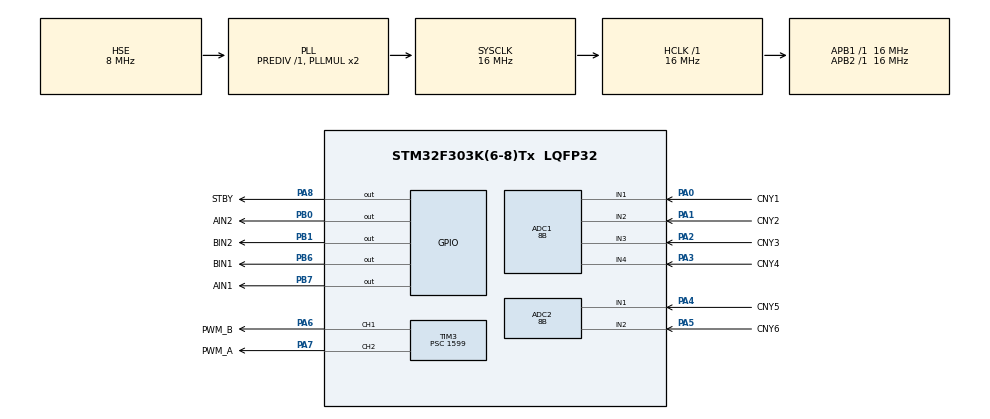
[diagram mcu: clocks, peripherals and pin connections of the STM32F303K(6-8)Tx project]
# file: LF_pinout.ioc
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ADC1.Channel-0\#ChannelRegularConversion=ADC_CHANNEL_1
ADC1.Channel-1\#ChannelRegularConversion=ADC_CHANNEL_2
ADC1.Channel-2\#ChannelRegularConversion=ADC_CHANNEL_3
ADC1.Channel-5\#ChannelRegularConversion=ADC_CHANNEL_4
ADC1.ClockPrescaler=ADC_CLOCK_SYNC_PCLK_DIV1
ADC1.ContinuousConvMode=DISABLE
ADC1.DMAContinuousRequests=DISABLE
ADC1.ExternalTrigConv=ADC_SOFTWARE_START
ADC1.NbrOfConversion=4
ADC1.NbrOfConversionFlag=1
ADC1.Offset-0\#ChannelRegularConversion=0
ADC1.Offset-1\#ChannelRegularConversion=0
ADC1.Offset-2\#ChannelRegularConversion=0
ADC1.Offset-5\#ChannelRegularConversion=0
ADC1.OffsetNumber-0\#ChannelRegularConversion=ADC_OFFSET_NONE
ADC1.OffsetNumber-1\#ChannelRegularConversion=ADC_OFFSET_NONE
ADC1.OffsetNumber-2\#ChannelRegularConversion=ADC_OFFSET_NONE
ADC1.OffsetNumber-5\#ChannelRegularConversion=ADC_OFFSET_NONE
ADC1.Overrun=ADC_OVR_DATA_OVERWRITTEN
ADC1.Rank-0\#ChannelRegularConversion=1
ADC1.Rank-1\#ChannelRegularConversion=2
ADC1.Rank-2\#ChannelRegularConversion=3
ADC1.Rank-5\#ChannelRegularConversion=4
ADC1.Resolution=ADC_RESOLUTION_8B
ADC1.SamplingTime-0\#ChannelRegularConversion=ADC_SAMPLETIME_4CYCLES_5
ADC1.SamplingTime-1\#ChannelRegularConversion=ADC_SAMPLETIME_4CYCLES_5
ADC1.SamplingTime-2\#ChannelRegularConversion=ADC_SAMPLETIME_4CYCLES_5
ADC1.SamplingTime-5\#ChannelRegularConversion=ADC_SAMPLETIME_4CYCLES_5
ADC1.SamplingTimeOPAMP-5\#ChannelRegularConversion=ADC_SAMPLETIME_7CYCLES_5
ADC1.SubFamily=STM32F303x8
ADC1.master=1
ADC2.Channel-0\#ChannelRegularConversion=ADC_CHANNEL_1
ADC2.Channel-1\#ChannelRegularConversion=ADC_CHANNEL_2
ADC2.ClockPrescaler=ADC_CLOCK_SYNC_PCLK_DIV1
ADC2.ContinuousConvMode=DISABLE
ADC2.DMAContinuousRequests=DISABLE
ADC2.NbrOfConversion=2
ADC2.NbrOfConversionFlag=1
ADC2.Offset-0\#ChannelRegularConversion=0
ADC2.Offset-1\#ChannelRegularConversion=0
ADC2.OffsetNumber-0\#ChannelRegularConversion=ADC_OFFSET_NONE
ADC2.OffsetNumber-1\#ChannelRegularConversion=ADC_OFFSET_NONE
ADC2.Rank-0\#ChannelRegularConversion=1
ADC2.Rank-1\#ChannelRegularConversion=2
ADC2.Resolution=ADC_RESOLUTION_8B
ADC2.SamplingTime-0\#ChannelRegularConversion=ADC_SAMPLETIME_4CYCLES_5
ADC2.SamplingTime-1\#ChannelRegularConversion=ADC_SAMPLETIME_4CYCLES_5
ADC2.SamplingTimeOPAMP-1\#ChannelRegularConversion=ADC_SAMPLETIME_19CYCLES_5
ADC2.SubFamily=STM32F303x8
Dma.ADC1.0.Direction=DMA_PERIPH_TO_MEMORY
Dma.ADC1.0.Instance=DMA1_Channel1
Dma.ADC1.0.MemDataAlignment=DMA_MDATAALIGN_BYTE
Dma.ADC1.0.MemInc=DMA_MINC_ENABLE
Dma.ADC1.0.Mode=DMA_CIRCULAR
Dma.ADC1.0.PeriphDataAlignment=DMA_PDATAALIGN_BYTE
Dma.ADC1.0.PeriphInc=DMA_PINC_DISABLE
Dma.ADC1.0.Priority=DMA_PRIORITY_LOW
Dma.ADC2.1.Direction=DMA_PERIPH_TO_MEMORY
Dma.ADC2.1.Instance=DMA1_Channel2
Dma.ADC2.1.MemDataAlignment=DMA_MDATAALIGN_BYTE
Dma.ADC2.1.MemInc=DMA_MINC_ENABLE
Dma.ADC2.1.Mode=DMA_CIRCULAR
Dma.ADC2.1.PeriphDataAlignment=DMA_PDATAALIGN_BYTE
Dma.ADC2.1.PeriphInc=DMA_PINC_DISABLE
Dma.ADC2.1.Priority=DMA_PRIORITY_LOW
Dma.Request0=ADC1
Dma.Request1=ADC2
Mcu.Family=STM32F3
Mcu.Name=STM32F303K(6-8)Tx
Mcu.Package=LQFP32
NVIC.ADC1_2_IRQn=true\:0\:0\:false\:false\:true\:true\:true
NVIC.DMA1_Channel1_IRQn=true\:0\:0\:false\:false\:true\:false\:true
NVIC.DMA1_Channel2_IRQn=true\:0\:0\:false\:false\:true\:false\:true
NVIC.PriorityGroup=NVIC_PRIORITYGROUP_4
NVIC.TIM3_IRQn=true\:0\:0\:false\:false\:true\:true\:true
PA0.GPIO_Label=CNY1
PA0.Mode=IN1-Single-Ended
PA0.Signal=ADC1_IN1
PA1.GPIO_Label=CNY2
PA1.Mode=IN2-Single-Ended
PA1.Signal=ADC1_IN2
PA2.GPIO_Label=CNY3
PA2.Mode=IN3-Single-Ended
PA2.Signal=ADC1_IN3
PA3.GPIO_Label=CNY4
PA3.Mode=IN4-Single-Ended
PA3.Signal=ADC1_IN4
PA4.GPIO_Label=CNY5
PA4.Mode=IN1-Single-Ended
PA4.Signal=ADC2_IN1
PA5.GPIO_Label=CNY6
PA5.Mode=IN2-Single-Ended
PA5.Signal=ADC2_IN2
PA6.GPIO_Label=PWM_B
PA6.Signal=S_TIM3_CH1
PA7.GPIO_Label=PWM_A
PA7.Signal=S_TIM3_CH2
PA8.GPIO_Label=STBY
PA8.Signal=GPIO_Output
PB0.GPIO_Label=AIN2
PB0.Signal=GPIO_Output
PB1.GPIO_Label=BIN2
PB1.Signal=GPIO_Output
PB6.GPIO_Label=BIN1
PB6.Signal=GPIO_Output
PB7.GPIO_Label=AIN1
PB7.Signal=GPIO_Output
PF0\ /\ OSC_IN.Mode=HSE-External-Oscillator
PF0\ /\ OSC_IN.Signal=RCC_OSC_IN
PF1\ /\ OSC_OUT.Mode=HSE-External-Oscillator
PF1\ /\ OSC_OUT.Signal=RCC_OSC_OUT
ProjectManager.HeapSize=0x200
ProjectManager.StackSize=0x400
ProjectManager.TargetToolchain=STM32CubeIDE
RCC.AHBFreq_Value=16000000
RCC.APB1Freq_Value=16000000
RCC.APB1TimFreq_Value=16000000
RCC.APB2Freq_Value=16000000
RCC.APB2TimFreq_Value=16000000
RCC.CortexFreq_Value=16000000
RCC.HCLKFreq_Value=16000000
RCC.HSE_VALUE=8000000
RCC.HSI_VALUE=8000000
RCC.PLLSourceVirtual=RCC_PLLSOURCE_HSE
RCC.SYSCLKFreq_VALUE=16000000
RCC.SYSCLKSourceVirtual=RCC_SYSCLKSOURCE_PLLCLK
SH.S_TIM3_CH1.0=TIM3_CH1,PWM Generation1 CH1
SH.S_TIM3_CH2.0=TIM3_CH2,PWM Generation2 CH2
TIM3.Channel-PWM\ Generation1\ CH1=TIM_CHANNEL_1
TIM3.Channel-PWM\ Generation2\ CH2=TIM_CHANNEL_2
TIM3.OC1Preload_PWM=ENABLE
TIM3.OC2Preload_PWM=ENABLE
TIM3.Period=99
TIM3.Prescaler=1599
TIM3.TIM_MasterOutputTrigger=TIM_TRGO_RESET
VP_TIM3_VS_ClockSourceINT.Mode=Internal
board=custom

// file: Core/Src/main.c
/* USER CODE BEGIN Header */
/**
  ******************************************************************************
  * @file           : main.c
  * @brief          : Main program body
  ******************************************************************************
  * @attention
  *
  * <h2><center>&copy; Copyright (c) 2021 STMicroelectronics.
  * All rights reserved.</center></h2>
  *
  * This software component is licensed by ST under BSD 3-Clause license,
  * the "License"; You may not use this file except in compliance with the
  * License. You may obtain a copy of the License at:
  *                        opensource.org/licenses/BSD-3-Clause
  *
  ******************************************************************************
  */
/* USER CODE END Header */
#include "main.h"

/* USER CODE BEGIN PM */
volatile uint8_t CzujADC1[4];
volatile uint8_t CzujADC2[2];
/* USER CODE END PM */

ADC_HandleTypeDef hadc1;
ADC_HandleTypeDef hadc2;
DMA_HandleTypeDef hdma_adc1;
DMA_HandleTypeDef hdma_adc2;

TIM_HandleTypeDef htim3;

void SystemClock_Config(void);
static void MX_GPIO_Init(void);
static void MX_DMA_Init(void);
static void MX_ADC1_Init(void);
static void MX_ADC2_Init(void);
static void MX_TIM3_Init(void);

/* USER CODE BEGIN 0 */

/*void HAL_TIM_PeriodElapsedCallback(TIM_HandleTypeDef *htim) {
	if (htim == &htim3) {
		  __HAL_TIM_SET_COMPARE(&htim3, TIM_CHANNEL_1, 25); //25
		  __HAL_TIM_SET_COMPARE(&htim3, TIM_CHANNEL_2, 34); //34
	}
}*/

/* USER CODE END 0 */

int main(void)
{

  /* MCU Configuration--------------------------------------------------------*/

  /* Reset of all peripherals, Initializes the Flash interface and the Systick. */
  HAL_Init();

  /* Configure the system clock */
  SystemClock_Config();

  /* USER CODE BEGIN SysInit */
  int differential=0;
  int PD_reg=0;
  int base = 30;
  int diff = 20;

  int Motor_Left = base + diff;
  int Motor_Right = base;

  int weight[] = {0, 14, 7, -7, -14, 0};
  int SensorSettings[6];

  int Kp = 2;
  int Kd = 1;
  int err = 0;
  int prev_err = 0;
  int detections = 0;

  int prog = 180;

  uint8_t ADC_data[6];
  /* USER CODE END SysInit */

  /* Initialize all configured peripherals */
  MX_GPIO_Init();
  MX_DMA_Init();
  MX_ADC1_Init();
  MX_ADC2_Init();
  MX_TIM3_Init();
  /* USER CODE BEGIN 2 */

  HAL_ADC_Start_DMA(&hadc1, CzujADC1, 4);
  HAL_ADC_Start_DMA(&hadc2, CzujADC2, 2);

  HAL_TIM_PWM_Start(&htim3, TIM_CHANNEL_1);
  HAL_TIM_PWM_Start(&htim3, TIM_CHANNEL_2);

  HAL_GPIO_WritePin(STBY_GPIO_Port, STBY_Pin, GPIO_PIN_SET);

  //lewy silnik - jazda na przód
  HAL_GPIO_WritePin(AIN1_GPIO_Port, AIN1_Pin, GPIO_PIN_SET);
  HAL_GPIO_WritePin(AIN2_GPIO_Port, AIN2_Pin, GPIO_PIN_RESET);
  //prawy silnik - jazda na przód
  HAL_GPIO_WritePin(BIN1_GPIO_Port, BIN1_Pin, GPIO_PIN_SET);
  HAL_GPIO_WritePin(BIN2_GPIO_Port, BIN2_Pin, GPIO_PIN_RESET);
  /* USER CODE END 2 */

  /* Infinite loop */
  /* USER CODE BEGIN WHILE */
  while (1)
  {

	/*  for(int i = 0; i<4; i++)
	  {
		  ADC_data[i] = CzujADC1[i];
	  }

	  for(int i = 4; i<6; i++)
	  {
	  	  ADC_data[i] = CzujADC2[i];
	  }

	  for(int i = 0; i<6; i++)
	  {
		  if(ADC_data[i] > prog)
		  {
			  SensorSettings[i] = 1;
		  }
		  else
		  {
			  SensorSettings[i] = 0;
		  }

	  }

	  for(int j = 0; j<6; j++)
	  {
		  err += SensorSettings[j]*weight[j];
		  detections += SensorSettings[j];
	  }

	  if(detections != 0)
	  {
		  err /= detections;
		  prev_err = err;
	  }
	  else
	  {
		  if(prev_err < -8)
		  {
			  err = -13;
		  }
		  else if(prev_err > 8)
		  {
		  	  err = 13;
		  }
		  else err = 0;
	  }

	  differential = err - prev_err;
	  prev_err = err;
	  PD_reg = Kp*err + Kd*differential;

	  //Lewy silnik

	   __HAL_TIM_SET_COMPARE(&htim3, TIM_CHANNEL_2, Motor_Left+PD_reg);
	  //Prawy silnik

	  __HAL_TIM_SET_COMPARE(&htim3, TIM_CHANNEL_1, Motor_Right-PD_reg);
	  err = 0;
	  detections = 0;*/
	  if(CzujADC1[0] > prog)
	  {
		  //lewy silnik - jazda na przód
		  HAL_GPIO_WritePin(AIN1_GPIO_Port, AIN1_Pin, GPIO_PIN_SET);
		  HAL_GPIO_WritePin(AIN2_GPIO_Port, AIN2_Pin, GPIO_PIN_RESET);
		  //prawy silnik - jazda na przód
		  HAL_GPIO_WritePin(BIN1_GPIO_Port, BIN1_Pin, GPIO_PIN_RESET);
		  HAL_GPIO_WritePin(BIN2_GPIO_Port, BIN2_Pin, GPIO_PIN_SET);

		  err = 30;
	  }
	  else if(CzujADC1[1] > prog)
	  {
		  //lewy silnik - jazda na przód
		  HAL_GPIO_WritePin(AIN1_GPIO_Port, AIN1_Pin, GPIO_PIN_SET);
		  HAL_GPIO_WritePin(AIN2_GPIO_Port, AIN2_Pin, GPIO_PIN_RESET);
		  //prawy silnik - jazda na przód
		  HAL_GPIO_WritePin(BIN1_GPIO_Port, BIN1_Pin, GPIO_PIN_RESET);
		  HAL_GPIO_WritePin(BIN2_GPIO_Port, BIN2_Pin, GPIO_PIN_SET);
		  err = 15;
	  }
	  else if(CzujADC1[2] > prog)
	  {
		  //lewy silnik - jazda na przód
		  		  HAL_GPIO_WritePin(AIN1_GPIO_Port, AIN1_Pin, GPIO_PIN_SET);
		  		  HAL_GPIO_WritePin(AIN2_GPIO_Port, AIN2_Pin, GPIO_PIN_RESET);
		  		  //prawy silnik - jazda na przód
				  HAL_GPIO_WritePin(BIN1_GPIO_Port, BIN1_Pin, GPIO_PIN_RESET);
				  HAL_GPIO_WritePin(BIN2_GPIO_Port, BIN2_Pin, GPIO_PIN_SET);
				  err = 5;
	  }
	  else if(CzujADC1[3] > prog)
	  {
		  HAL_GPIO_WritePin(AIN1_GPIO_Port, AIN1_Pin, GPIO_PIN_RESET);
		  HAL_GPIO_WritePin(AIN2_GPIO_Port, AIN2_Pin, GPIO_PIN_SET);
		  //prawy silnik - jazda na przód
		  HAL_GPIO_WritePin(BIN1_GPIO_Port, BIN1_Pin, GPIO_PIN_SET);
		  HAL_GPIO_WritePin(BIN2_GPIO_Port, BIN2_Pin, GPIO_PIN_RESET);
		  err = 5;
	  }
	  else if(CzujADC2[0] > prog)
	  {
		  HAL_GPIO_WritePin(AIN1_GPIO_Port, AIN1_Pin, GPIO_PIN_RESET);
		  HAL_GPIO_WritePin(AIN2_GPIO_Port, AIN2_Pin, GPIO_PIN_SET);
		  //prawy silnik - jazda na przód
		  HAL_GPIO_WritePin(BIN1_GPIO_Port, BIN1_Pin, GPIO_PIN_SET);
		  HAL_GPIO_WritePin(BIN2_GPIO_Port, BIN2_Pin, GPIO_PIN_RESET);
		  err = 15;
	  }
	  else if(CzujADC2[1] > prog)
	  {
		  HAL_GPIO_WritePin(AIN1_GPIO_Port, AIN1_Pin, GPIO_PIN_RESET);
		  HAL_GPIO_WritePin(AIN2_GPIO_Port, AIN2_Pin, GPIO_PIN_SET);
		  //prawy silnik - jazda na przód
		  HAL_GPIO_WritePin(BIN1_GPIO_Port, BIN1_Pin, GPIO_PIN_SET);
		  HAL_GPIO_WritePin(BIN2_GPIO_Port, BIN2_Pin, GPIO_PIN_RESET);
		  err = 30;
	  }
	  else
	  {
		  //lewy silnik - jazda na przód
		  HAL_GPIO_WritePin(AIN1_GPIO_Port, AIN1_Pin, GPIO_PIN_SET);
		  HAL_GPIO_WritePin(AIN2_GPIO_Port, AIN2_Pin, GPIO_PIN_RESET);
		  //prawy silnik - jazda na przód
		  HAL_GPIO_WritePin(BIN1_GPIO_Port, BIN1_Pin, GPIO_PIN_SET);
		  HAL_GPIO_WritePin(BIN2_GPIO_Port, BIN2_Pin, GPIO_PIN_RESET);
		  err = 0;
	  }

	  //Lewy silnik
	  __HAL_TIM_SET_COMPARE(&htim3, TIM_CHANNEL_2, Motor_Left+err);

	  //Prawy silnik
	  __HAL_TIM_SET_COMPARE(&htim3, TIM_CHANNEL_1, Motor_Right+err);
	  err = 0;
	  HAL_Delay(50);

	  HAL_ADC_Start_DMA(&hadc1, CzujADC1, 4);
	  HAL_ADC_Start_DMA(&hadc2, CzujADC2, 2);

    /* USER CODE END WHILE */

  }
}

void SystemClock_Config(void)
{
  RCC_OscInitTypeDef RCC_OscInitStruct = {0};
  RCC_ClkInitTypeDef RCC_ClkInitStruct = {0};

  /** Initializes the RCC Oscillators according to the specified parameters
  * in the RCC_OscInitTypeDef structure.
  */
  RCC_OscInitStruct.OscillatorType = RCC_OSCILLATORTYPE_HSE;
  RCC_OscInitStruct.HSEState = RCC_HSE_ON;
  RCC_OscInitStruct.HSEPredivValue = RCC_HSE_PREDIV_DIV1;
  RCC_OscInitStruct.HSIState = RCC_HSI_ON;
  RCC_OscInitStruct.PLL.PLLState = RCC_PLL_ON;
  RCC_OscInitStruct.PLL.PLLSource = RCC_PLLSOURCE_HSE;
  RCC_OscInitStruct.PLL.PLLMUL = RCC_PLL_MUL2;
  if (HAL_RCC_OscConfig(&RCC_OscInitStruct) != HAL_OK)
  {
    Error_Handler();
  }
  /** Initializes the CPU, AHB and APB buses clocks
  */
  RCC_ClkInitStruct.ClockType = RCC_CLOCKTYPE_HCLK|RCC_CLOCKTYPE_SYSCLK
                              |RCC_CLOCKTYPE_PCLK1|RCC_CLOCKTYPE_PCLK2;
  RCC_ClkInitStruct.SYSCLKSource = RCC_SYSCLKSOURCE_PLLCLK;
  RCC_ClkInitStruct.AHBCLKDivider = RCC_SYSCLK_DIV1;
  RCC_ClkInitStruct.APB1CLKDivider = RCC_HCLK_DIV1;
  RCC_ClkInitStruct.APB2CLKDivider = RCC_HCLK_DIV1;

  if (HAL_RCC_ClockConfig(&RCC_ClkInitStruct, FLASH_LATENCY_0) != HAL_OK)
  {
    Error_Handler();
  }
}

static void MX_ADC1_Init(void)
{

  ADC_MultiModeTypeDef multimode = {0};
  ADC_ChannelConfTypeDef sConfig = {0};

  /** Common config
  */
  hadc1.Instance = ADC1;
  hadc1.Init.ClockPrescaler = ADC_CLOCK_SYNC_PCLK_DIV1;
  hadc1.Init.Resolution = ADC_RESOLUTION_8B;
  hadc1.Init.ScanConvMode = ADC_SCAN_ENABLE;
  hadc1.Init.ContinuousConvMode = DISABLE;
  hadc1.Init.DiscontinuousConvMode = DISABLE;
  hadc1.Init.ExternalTrigConvEdge = ADC_EXTERNALTRIGCONVEDGE_NONE;
  hadc1.Init.ExternalTrigConv = ADC_SOFTWARE_START;
  hadc1.Init.DataAlign = ADC_DATAALIGN_RIGHT;
  hadc1.Init.NbrOfConversion = 4;
  hadc1.Init.DMAContinuousRequests = DISABLE;
  hadc1.Init.EOCSelection = ADC_EOC_SINGLE_CONV;
  hadc1.Init.LowPowerAutoWait = DISABLE;
  hadc1.Init.Overrun = ADC_OVR_DATA_OVERWRITTEN;
  if (HAL_ADC_Init(&hadc1) != HAL_OK)
  {
    Error_Handler();
  }
  /** Configure the ADC multi-mode
  */
  multimode.Mode = ADC_MODE_INDEPENDENT;
  if (HAL_ADCEx_MultiModeConfigChannel(&hadc1, &multimode) != HAL_OK)
  {
    Error_Handler();
  }
  /** Configure Regular Channel
  */
  sConfig.Channel = ADC_CHANNEL_1;
  sConfig.Rank = ADC_REGULAR_RANK_1;
  sConfig.SingleDiff = ADC_SINGLE_ENDED;
  sConfig.SamplingTime = ADC_SAMPLETIME_4CYCLES_5;
  sConfig.OffsetNumber = ADC_OFFSET_NONE;
  sConfig.Offset = 0;
  if (HAL_ADC_ConfigChannel(&hadc1, &sConfig) != HAL_OK)
  {
    Error_Handler();
  }
  /** Configure Regular Channel
  */
  sConfig.Channel = ADC_CHANNEL_2;
  sConfig.Rank = ADC_REGULAR_RANK_2;
  if (HAL_ADC_ConfigChannel(&hadc1, &sConfig) != HAL_OK)
  {
    Error_Handler();
  }
  /** Configure Regular Channel
  */
  sConfig.Channel = ADC_CHANNEL_3;
  sConfig.Rank = ADC_REGULAR_RANK_3;
  if (HAL_ADC_ConfigChannel(&hadc1, &sConfig) != HAL_OK)
  {
    Error_Handler();
  }
  /** Configure Regular Channel
  */
  sConfig.Channel = ADC_CHANNEL_4;
  sConfig.Rank = ADC_REGULAR_RANK_4;
  if (HAL_ADC_ConfigChannel(&hadc1, &sConfig) != HAL_OK)
  {
    Error_Handler();
  }

}

static void MX_ADC2_Init(void)
{

  ADC_ChannelConfTypeDef sConfig = {0};

  /** Common config
  */
  hadc2.Instance = ADC2;
  hadc2.Init.ClockPrescaler = ADC_CLOCK_SYNC_PCLK_DIV1;
  hadc2.Init.Resolution = ADC_RESOLUTION_8B;
  hadc2.Init.ScanConvMode = ADC_SCAN_ENABLE;
  hadc2.Init.ContinuousConvMode = DISABLE;
  hadc2.Init.DiscontinuousConvMode = DISABLE;
  hadc2.Init.ExternalTrigConvEdge = ADC_EXTERNALTRIGCONVEDGE_NONE;
  hadc2.Init.ExternalTrigConv = ADC_SOFTWARE_START;
  hadc2.Init.DataAlign = ADC_DATAALIGN_RIGHT;
  hadc2.Init.NbrOfConversion = 2;
  hadc2.Init.DMAContinuousRequests = DISABLE;
  hadc2.Init.EOCSelection = ADC_EOC_SINGLE_CONV;
  hadc2.Init.LowPowerAutoWait = DISABLE;
  hadc2.Init.Overrun = ADC_OVR_DATA_OVERWRITTEN;
  if (HAL_ADC_Init(&hadc2) != HAL_OK)
  {
    Error_Handler();
  }
  /** Configure Regular Channel
  */
  sConfig.Channel = ADC_CHANNEL_1;
  sConfig.Rank = ADC_REGULAR_RANK_1;
  sConfig.SingleDiff = ADC_SINGLE_ENDED;
  sConfig.SamplingTime = ADC_SAMPLETIME_4CYCLES_5;
  sConfig.OffsetNumber = ADC_OFFSET_NONE;
  sConfig.Offset = 0;
  if (HAL_ADC_ConfigChannel(&hadc2, &sConfig) != HAL_OK)
  {
    Error_Handler();
  }
  /** Configure Regular Channel
  */
  sConfig.Channel = ADC_CHANNEL_2;
  sConfig.Rank = ADC_REGULAR_RANK_2;
  if (HAL_ADC_ConfigChannel(&hadc2, &sConfig) != HAL_OK)
  {
    Error_Handler();
  }

}

static void MX_TIM3_Init(void)
{

  TIM_ClockConfigTypeDef sClockSourceConfig = {0};
  TIM_MasterConfigTypeDef sMasterConfig = {0};
  TIM_OC_InitTypeDef sConfigOC = {0};

  htim3.Instance = TIM3;
  htim3.Init.Prescaler = 1599;
  htim3.Init.CounterMode = TIM_COUNTERMODE_UP;
  htim3.Init.Period = 99;
  htim3.Init.ClockDivision = TIM_CLOCKDIVISION_DIV1;
  htim3.Init.AutoReloadPreload = TIM_AUTORELOAD_PRELOAD_DISABLE;
  if (HAL_TIM_Base_Init(&htim3) != HAL_OK)
  {
    Error_Handler();
  }
  sClockSourceConfig.ClockSource = TIM_CLOCKSOURCE_INTERNAL;
  if (HAL_TIM_ConfigClockSource(&htim3, &sClockSourceConfig) != HAL_OK)
  {
    Error_Handler();
  }
  if (HAL_TIM_PWM_Init(&htim3) != HAL_OK)
  {
    Error_Handler();
  }
  sMasterConfig.MasterOutputTrigger = TIM_TRGO_RESET;
  sMasterConfig.MasterSlaveMode = TIM_MASTERSLAVEMODE_DISABLE;
  if (HAL_TIMEx_MasterConfigSynchronization(&htim3, &sMasterConfig) != HAL_OK)
  {
    Error_Handler();
  }
  sConfigOC.OCMode = TIM_OCMODE_PWM1;
  sConfigOC.Pulse = 0;
  sConfigOC.OCPolarity = TIM_OCPOLARITY_HIGH;
  sConfigOC.OCFastMode = TIM_OCFAST_DISABLE;
  if (HAL_TIM_PWM_ConfigChannel(&htim3, &sConfigOC, TIM_CHANNEL_1) != HAL_OK)
  {
    Error_Handler();
  }
  if (HAL_TIM_PWM_ConfigChannel(&htim3, &sConfigOC, TIM_CHANNEL_2) != HAL_OK)
  {
    Error_Handler();
  }
  HAL_TIM_MspPostInit(&htim3);

}

static void MX_DMA_Init(void)
{

  /* DMA controller clock enable */
  __HAL_RCC_DMA1_CLK_ENABLE();

  /* DMA interrupt init */
  /* DMA1_Channel1_IRQn interrupt configuration */
  HAL_NVIC_SetPriority(DMA1_Channel1_IRQn, 0, 0);
  HAL_NVIC_EnableIRQ(DMA1_Channel1_IRQn);
  /* DMA1_Channel2_IRQn interrupt configuration */
  HAL_NVIC_SetPriority(DMA1_Channel2_IRQn, 0, 0);
  HAL_NVIC_EnableIRQ(DMA1_Channel2_IRQn);

}

static void MX_GPIO_Init(void)
{
  GPIO_InitTypeDef GPIO_InitStruct = {0};

  /* GPIO Ports Clock Enable */
  __HAL_RCC_GPIOF_CLK_ENABLE();
  __HAL_RCC_GPIOA_CLK_ENABLE();
  __HAL_RCC_GPIOB_CLK_ENABLE();

  /*Configure GPIO pin Output Level */
  HAL_GPIO_WritePin(GPIOB, AIN2_Pin|BIN2_Pin|BIN1_Pin|AIN1_Pin, GPIO_PIN_RESET);

  /*Configure GPIO pin Output Level */
  HAL_GPIO_WritePin(STBY_GPIO_Port, STBY_Pin, GPIO_PIN_RESET);

  /*Configure GPIO pins : AIN2_Pin BIN2_Pin BIN1_Pin AIN1_Pin */
  GPIO_InitStruct.Pin = AIN2_Pin|BIN2_Pin|BIN1_Pin|AIN1_Pin;
  GPIO_InitStruct.Mode = GPIO_MODE_OUTPUT_PP;
  GPIO_InitStruct.Pull = GPIO_NOPULL;
  GPIO_InitStruct.Speed = GPIO_SPEED_FREQ_LOW;
  HAL_GPIO_Init(GPIOB, &GPIO_InitStruct);

  /*Configure GPIO pin : STBY_Pin */
  GPIO_InitStruct.Pin = STBY_Pin;
  GPIO_InitStruct.Mode = GPIO_MODE_OUTPUT_PP;
  GPIO_InitStruct.Pull = GPIO_NOPULL;
  GPIO_InitStruct.Speed = GPIO_SPEED_FREQ_LOW;
  HAL_GPIO_Init(STBY_GPIO_Port, &GPIO_InitStruct);

}

void Error_Handler(void)
{
}

/************************ (C) COPYRIGHT STMicroelectronics *****END OF FILE****/
